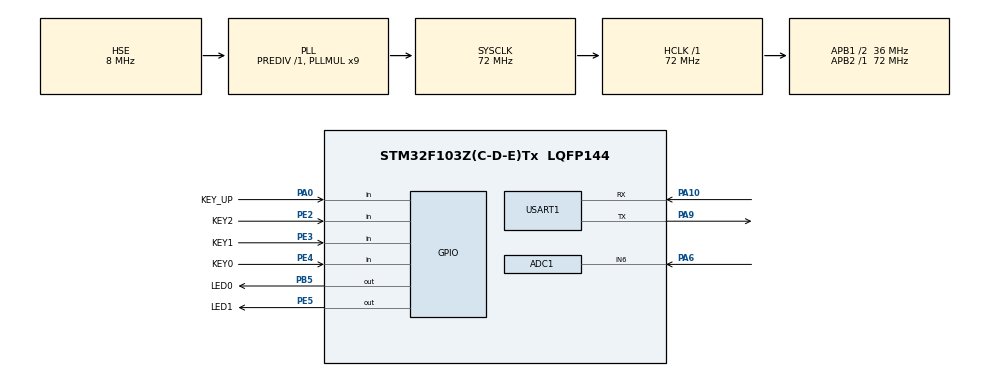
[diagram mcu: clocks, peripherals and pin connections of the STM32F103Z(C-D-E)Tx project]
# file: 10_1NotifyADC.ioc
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ADC1.Channel-1\#ChannelRegularConversion=ADC_CHANNEL_6
ADC1.ExternalTrigConv=ADC_EXTERNALTRIGCONV_T3_TRGO
ADC1.NbrOfConversionFlag=1
ADC1.Rank-1\#ChannelRegularConversion=1
ADC1.SamplingTime-1\#ChannelRegularConversion=ADC_SAMPLETIME_1CYCLE_5
ADC1.master=1
FREERTOS.BinarySemaphores01=BinSem_DataReady,Dynamic,NULL,Available
FREERTOS.Tasks01=Task_Show,24,128,AppTask_Show,Default,NULL,Dynamic,NULL,NULL
Mcu.Family=STM32F1
Mcu.Name=STM32F103Z(C-D-E)Tx
Mcu.Package=LQFP144
NVIC.ADC1_2_IRQn=true\:5\:0\:false\:false\:true\:true\:true\:true\:true
NVIC.PriorityGroup=NVIC_PRIORITYGROUP_4
NVIC.TIM6_IRQn=true\:15\:0\:false\:false\:true\:false\:false\:true\:true
NVIC.TimeBase=TIM6_IRQn
NVIC.TimeBaseIP=TIM6
OSC_IN.Mode=HSE-External-Oscillator
OSC_IN.Signal=RCC_OSC_IN
OSC_OUT.Mode=HSE-External-Oscillator
OSC_OUT.Signal=RCC_OSC_OUT
PA0-WKUP.GPIO_Label=KEY_UP
PA0-WKUP.GPIO_PuPd=GPIO_PULLDOWN
PA0-WKUP.Signal=GPIO_Input
PA10.Mode=Asynchronous
PA10.Signal=USART1_RX
PA13.Mode=Serial_Wire
PA13.Signal=SYS_JTMS-SWDIO
PA14.Mode=Serial_Wire
PA14.Signal=SYS_JTCK-SWCLK
PA6.Signal=ADCx_IN6
PA9.Mode=Asynchronous
PA9.Signal=USART1_TX
PB5.GPIO_Label=LED0
PB5.Signal=GPIO_Output
PE2.GPIO_Label=KEY2
PE2.GPIO_PuPd=GPIO_PULLUP
PE2.Signal=GPIO_Input
PE3.GPIO_Label=KEY1
PE3.GPIO_PuPd=GPIO_PULLUP
PE3.Signal=GPIO_Input
PE4.GPIO_Label=KEY0
PE4.GPIO_PuPd=GPIO_PULLUP
PE4.Signal=GPIO_Input
PE5.GPIO_Label=LED1
PE5.Signal=GPIO_Output
ProjectManager.HeapSize=0x800
ProjectManager.StackSize=0x800
ProjectManager.TargetToolchain=MDK-ARM V5.32
RCC.ADCPresc=RCC_ADCPCLK2_DIV6
RCC.AHBFreq_Value=72000000
RCC.APB1CLKDivider=RCC_HCLK_DIV2
RCC.APB1Freq_Value=36000000
RCC.APB1TimFreq_Value=72000000
RCC.APB2Freq_Value=72000000
RCC.APB2TimFreq_Value=72000000
RCC.HCLKFreq_Value=72000000
RCC.PLLMUL=RCC_PLL_MUL9
RCC.PLLSourceVirtual=RCC_PLLSOURCE_HSE
RCC.SYSCLKFreq_VALUE=72000000
RCC.SYSCLKSource=RCC_SYSCLKSOURCE_PLLCLK
RCC.USBFreq_Value=72000000
SH.ADCx_IN6.0=ADC1_IN6,IN6
TIM3.AutoReloadPreload=TIM_AUTORELOAD_PRELOAD_ENABLE
TIM3.Period=7200-1
TIM3.Prescaler=5000-1
TIM3.TIM_MasterOutputTrigger=TIM_TRGO_UPDATE
USART1.VirtualMode=VM_ASYNC
VP_FREERTOS_VS_CMSIS_V2.Mode=CMSIS_V2
VP_SYS_VS_tim6.Mode=TIM6
VP_TIM3_VS_ClockSourceINT.Mode=Internal
board=custom

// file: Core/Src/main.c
/* USER CODE BEGIN Header */
/**
  ******************************************************************************
  * @file           : main.c
  * @brief          : Main program body
  ******************************************************************************
  * @attention
  *
  * Copyright (c) 2025 STMicroelectronics.
  * All rights reserved.
  *
  * This software is licensed under terms that can be found in the LICENSE file
  * in the root directory of this software component.
  * If no LICENSE file comes with this software, it is provided AS-IS.
  *
  ******************************************************************************
  */
/* USER CODE END Header */
#include "main.h"
#include "cmsis_os.h"
#include "adc.h"
#include "tim.h"
#include "usart.h"
#include "gpio.h"

void SystemClock_Config(void);
void MX_FREERTOS_Init(void);

int main(void)
{

  /* MCU Configuration--------------------------------------------------------*/

  /* Reset of all peripherals, Initializes the Flash interface and the Systick. */
  HAL_Init();

  /* Configure the system clock */
  SystemClock_Config();

  /* Initialize all configured peripherals */
  MX_GPIO_Init();
  MX_USART1_UART_Init();
  MX_ADC1_Init();
  MX_TIM3_Init();
  /* USER CODE BEGIN 2 */
  HAL_ADC_Start_IT(&hadc1);
  HAL_TIM_Base_Start_IT(&htim3);
  /* USER CODE END 2 */

  /* Init scheduler */
  osKernelInitialize();  /* Call init function for freertos objects (in cmsis_os2.c) */
  MX_FREERTOS_Init();

  /* Start scheduler */
  osKernelStart();

  /* We should never get here as control is now taken by the scheduler */

  /* Infinite loop */
  while (1)
  {

  }
}

void SystemClock_Config(void)
{
  RCC_OscInitTypeDef RCC_OscInitStruct = {0};
  RCC_ClkInitTypeDef RCC_ClkInitStruct = {0};
  RCC_PeriphCLKInitTypeDef PeriphClkInit = {0};

  /** Initializes the RCC Oscillators according to the specified parameters
  * in the RCC_OscInitTypeDef structure.
  */
  RCC_OscInitStruct.OscillatorType = RCC_OSCILLATORTYPE_HSE;
  RCC_OscInitStruct.HSEState = RCC_HSE_ON;
  RCC_OscInitStruct.HSEPredivValue = RCC_HSE_PREDIV_DIV1;
  RCC_OscInitStruct.HSIState = RCC_HSI_ON;
  RCC_OscInitStruct.PLL.PLLState = RCC_PLL_ON;
  RCC_OscInitStruct.PLL.PLLSource = RCC_PLLSOURCE_HSE;
  RCC_OscInitStruct.PLL.PLLMUL = RCC_PLL_MUL9;
  if (HAL_RCC_OscConfig(&RCC_OscInitStruct) != HAL_OK)
  {
    Error_Handler();
  }

  /** Initializes the CPU, AHB and APB buses clocks
  */
  RCC_ClkInitStruct.ClockType = RCC_CLOCKTYPE_HCLK|RCC_CLOCKTYPE_SYSCLK
                              |RCC_CLOCKTYPE_PCLK1|RCC_CLOCKTYPE_PCLK2;
  RCC_ClkInitStruct.SYSCLKSource = RCC_SYSCLKSOURCE_PLLCLK;
  RCC_ClkInitStruct.AHBCLKDivider = RCC_SYSCLK_DIV1;
  RCC_ClkInitStruct.APB1CLKDivider = RCC_HCLK_DIV2;
  RCC_ClkInitStruct.APB2CLKDivider = RCC_HCLK_DIV1;

  if (HAL_RCC_ClockConfig(&RCC_ClkInitStruct, FLASH_LATENCY_2) != HAL_OK)
  {
    Error_Handler();
  }
  PeriphClkInit.PeriphClockSelection = RCC_PERIPHCLK_ADC;
  PeriphClkInit.AdcClockSelection = RCC_ADCPCLK2_DIV6;
  if (HAL_RCCEx_PeriphCLKConfig(&PeriphClkInit) != HAL_OK)
  {
    Error_Handler();
  }
}

void HAL_TIM_PeriodElapsedCallback(TIM_HandleTypeDef *htim)
{
  if (htim->Instance == TIM6)
  {
    HAL_IncTick();
  }
}

void Error_Handler(void)
{
  __disable_irq();
  while (1)
  {
  }
}

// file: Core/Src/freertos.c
/* USER CODE BEGIN Header */
/**
  ******************************************************************************
  * File Name          : freertos.c
  * Description        : Code for freertos applications
  ******************************************************************************
  * @attention
  *
  * Copyright (c) 2025 STMicroelectronics.
  * All rights reserved.
  *
  * This software is licensed under terms that can be found in the LICENSE file
  * in the root directory of this software component.
  * If no LICENSE file comes with this software, it is provided AS-IS.
  *
  ******************************************************************************
  */
/* USER CODE END Header */

#include "FreeRTOS.h"
#include "task.h"
#include "main.h"
#include "cmsis_os.h"

/* USER CODE BEGIN Includes */
#include "usart.h"
#include "stdio.h"
#include "string.h"
#include "adc.h"
/* USER CODE END Includes */

/* Definitions for Task_Show */
osThreadId_t Task_ShowHandle;
const osThreadAttr_t Task_Show_attributes = {
  .name = "Task_Show",
  .stack_size = 128 * 4,
  .priority = (osPriority_t) osPriorityNormal,
};
/* Definitions for BinSem_DataReady */
osSemaphoreId_t BinSem_DataReadyHandle;
const osSemaphoreAttr_t BinSem_DataReady_attributes = {
  .name = "BinSem_DataReady"
};

void AppTask_Show(void *argument);

void MX_FREERTOS_Init(void); /* (MISRA C 2004 rule 8.1) */

void MX_FREERTOS_Init(void) {

  /* Create the semaphores(s) */
  /* creation of BinSem_DataReady */
  BinSem_DataReadyHandle = osSemaphoreNew(1, 1, &BinSem_DataReady_attributes);

  /* Create the thread(s) */
  /* creation of Task_Show */
  Task_ShowHandle = osThreadNew(AppTask_Show, NULL, &Task_Show_attributes);

}

void AppTask_Show(void *argument)
{
  /* USER CODE BEGIN AppTask_Show */
  uint32_t pulNotificationValue = 0;
  /* Infinite loop */
  for(;;)
  {
    uint32_t ulBitsToClearOnEntry = 0x00000000;
    uint32_t ulBitsToClearOnExit = 0xFFFFFFFF;
    if (xTaskNotifyWait(ulBitsToClearOnEntry, ulBitsToClearOnExit,
      &pulNotificationValue, portMAX_DELAY) == pdPASS)
    {
      uint32_t adcValue = pulNotificationValue;

      char temp_str[50];
      sprintf(temp_str, "ADC Value: %d \r\n", adcValue);
      HAL_UART_Transmit(&huart1, (uint8_t*)temp_str, strlen(temp_str), 1000);

      sprintf(temp_str, "Voltage = %lf mV \r\n", adcValue/4095.0*3300);
      HAL_UART_Transmit(&huart1, (uint8_t*)temp_str, strlen(temp_str), 1000);
    }
    osDelay(1);
  }
  /* USER CODE END AppTask_Show */
}

/* USER CODE BEGIN Application */
void HAL_ADC_ConvCpltCallback(ADC_HandleTypeDef* hadc)
{
  if (hadc->Instance == ADC1)
  {
    uint32_t adcValue = HAL_ADC_GetValue(hadc);
    if (Task_ShowHandle != NULL)
    {
      BaseType_t highTaskWoken = pdFALSE;
      xTaskNotifyFromISR(Task_ShowHandle, adcValue,eSetValueWithoutOverwrite,&highTaskWoken);
      portYIELD_FROM_ISR(highTaskWoken);
    }
  }
}
/* USER CODE END Application */
